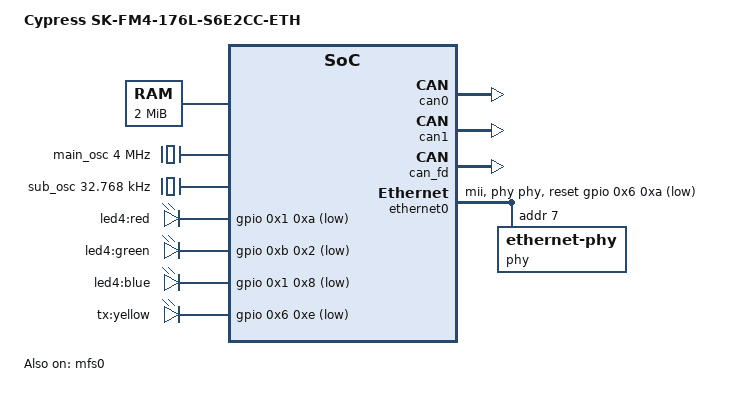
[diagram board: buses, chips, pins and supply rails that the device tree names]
/*
 * Spansion/Cypress SK-FM4-176L-S6E2CC-ETH
 *
 * Copyright (c) 2015-2017 Andreas Färber
 *
 * SPDX-License-Identifier: (GPL-2.0+ OR MIT)
 */

/dts-v1/;

#include "fm4-s6e2cca.dtsi"
#include <dt-bindings/gpio/gpio.h>

/ {
	model = "Cypress SK-FM4-176L-S6E2CC-ETH";
	compatible = "cypress,fm4";

	aliases {
		serial0 = &mfs0;
	};

	chosen {
		bootargs = "console=ttyFM0,115200n8 earlycon ignore_loglevel ihash_entries=64 dhash_entries=64 uclinux.physaddr=0x00180000 root=/dev/mtdblock0 init=/bin/sh";
		stdout-path = "serial0:115200n8";
	};

	memory@60000000 {
		reg = <0x60000000 0x00200000>;
	};

	main_osc: main-osc-clk {
		compatible = "fixed-clock";
		clock-frequency = <4000000>;
		#clock-cells = <0>;
	};

	sub_osc: sub-osc-clk {
		compatible = "fixed-clock";
		clock-frequency = <32768>;
		#clock-cells = <0>;
	};

	leds {
		compatible = "gpio-leds";

		led4-r {
			label = "led4:red";
			gpios = <&gpio 0x1 0xa GPIO_ACTIVE_LOW>;
		};

		led4-g {
			label = "led4:green";
			gpios = <&gpio 0xb 0x2 GPIO_ACTIVE_LOW>;
		};

		led4-b {
			label = "led4:blue";
			gpios = <&gpio 0x1 0x8 GPIO_ACTIVE_LOW>;
			default-state = "on";
			/*linux,default-trigger = "heartbeat";*/
		};

		tx {
			label = "tx:yellow";
			gpios = <&gpio 0x6 0xe GPIO_ACTIVE_LOW>;
			default-state = "off";
		};
	};
};

&can0 {
	status = "okay";
};

&can1 {
	status = "okay";
};

&can_fd {
	status = "okay";
};

/*&can_prescaler {
	assigned-clocks = <&can_prescaler>;
	assigned-clock-rates = <40000000>;
};*/

&cgu {
	clocks = <&main_osc>, <&sub_osc>;
	clock-names = "CLKMO", "CLKSO";
};

&ethernet0 {
	status = "okay";
	snps,reset-gpio = <&gpio 0x6 0xa GPIO_ACTIVE_LOW>;
	snps,reset-active-low;
	snps,reset-delays-us = <0 10000 1000000>;
	phy-mode = "mii";
	phy-handle = <&phy>;

	phy: ethernet-phy@7 {
		reg = <7>;
	};
};

&mfs0 {
	status = "okay";
};
